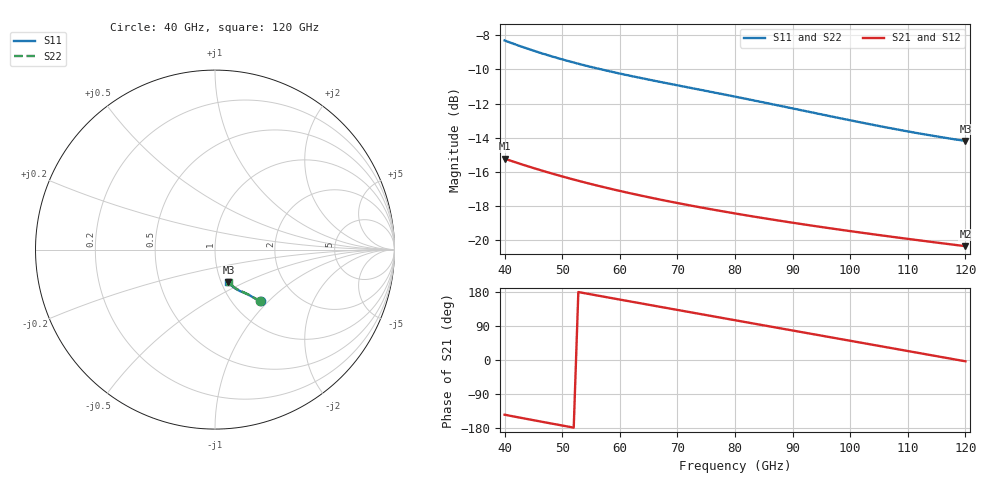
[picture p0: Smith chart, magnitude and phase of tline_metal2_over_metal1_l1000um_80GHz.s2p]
#  GHZ S DB R 50
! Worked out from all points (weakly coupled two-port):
!   101 points, 40 GHz to 120 GHz, reference 50 ohm
!   highest |S21| = -15.23 dB at 40 GHz (marker M1); lowest = -20.3 dB at 120 GHz (marker M2)
!   lowest |S11| = -14.2 dB at 120 GHz (marker M3), VSWR 1.49, Z = 54.1 - j20.3 ohm
!   |S11| at or under -10 dB: 56.75 GHz to end of sweep
!   |S22| runs from -14.2 to -8.3 dB; largest |S21 - S12| = 2.1e-14
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40  -8.31 -48.6  -15.23 -144.4  -15.23 -144.4  -8.33 -48.6
43.2  -8.70 -49.7  -15.58 -153.7  -15.58 -153.7  -8.72 -49.7
46.4  -9.06 -50.6  -15.91 -162.8  -15.91 -162.8  -9.08 -50.6
49.6  -9.38 -51.4  -16.23 -171.8  -16.23 -171.8  -9.41 -51.4
53.6  -9.74 -52.4  -16.59 177.1  -16.59 177.1  -9.77 -52.4
56.8  -10.00 -53.2  -16.86 168.3  -16.86 168.3  -10.04 -53.2
60  -10.25 -54.0  -17.11 159.5  -17.11 159.5  -10.29 -54.0
64  -10.53 -55.1  -17.41 148.5  -17.41 148.5  -10.57 -55.0
67.2  -10.75 -56.0  -17.63 139.8  -17.63 139.8  -10.79 -55.9
70.4  -10.96 -56.9  -17.84 131.1  -17.84 131.1  -11.01 -56.8
73.6  -11.17 -57.9  -18.05 122.4  -18.05 122.4  -11.22 -57.7
76.8  -11.38 -58.9  -18.24 113.7  -18.24 113.7  -11.44 -58.6
80  -11.60 -59.8  -18.43 105.0  -18.43 105.0  -11.65 -59.6
83.2  -11.81 -60.8  -18.61 96.3  -18.61 96.3  -11.87 -60.5
86.4  -12.03 -61.7  -18.78 87.6  -18.78 87.6  -12.09 -61.3
89.6  -12.26 -62.5  -18.95 78.9  -18.95 78.9  -12.31 -62.1
93.6  -12.54 -63.5  -19.15 68.1  -19.15 68.1  -12.59 -63.1
100.8  -13.03 -65.0  -19.50 48.6  -19.50 48.6  -13.08 -64.5
107.2  -13.46 -66.0  -19.79 31.3  -19.79 31.3  -13.50 -65.4
110.4  -13.65 -66.4  -19.93 22.6  -19.93 22.6  -13.69 -65.8
113.6  -13.84 -66.8  -20.07 13.9  -20.07 13.9  -13.88 -66.2
120  -14.19 -67.5  -20.34 -3.4  -20.34 -3.4  -14.22 -66.8
